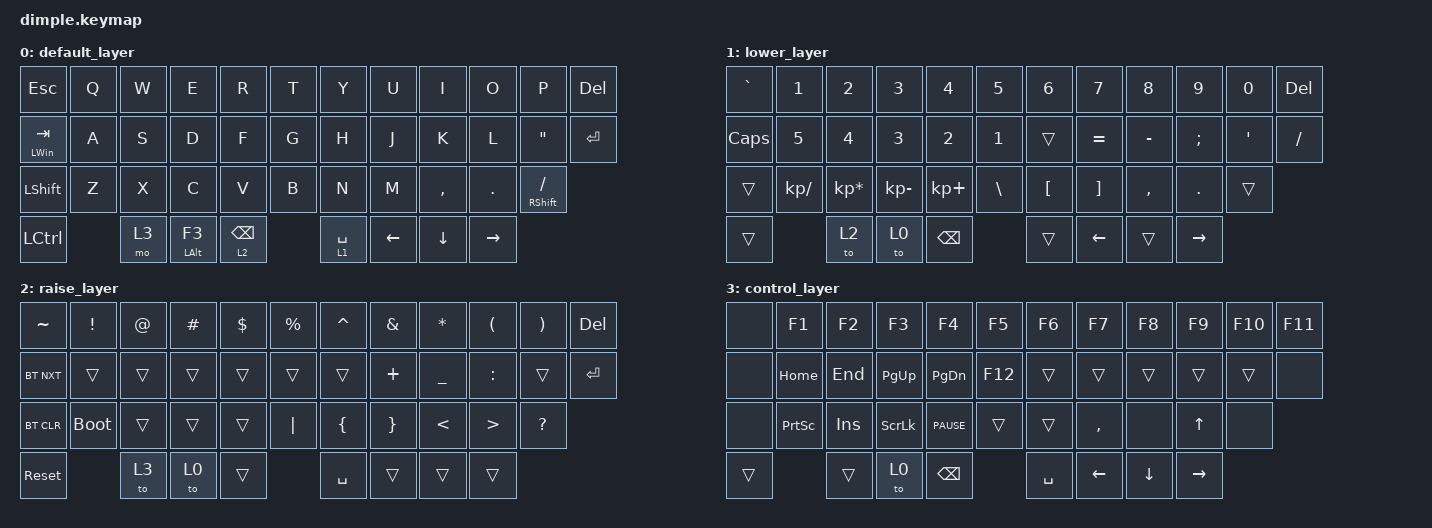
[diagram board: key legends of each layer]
/*
 * Copyright (c) 2022 LAZYDESIGNERS
 *
 * SPDX-License-Identifier: MIT
 */

#include <behaviors.dtsi>
#include <dt-bindings/zmk/bt.h>
#include <dt-bindings/zmk/keys.h>

#define DEFAULT 0
#define LOWER   1
#define RAISE   2
#define CONTROL 3

/ {
    keymap {
        compatible = "zmk,keymap";

        default_layer {
            bindings = <
&kp ESC           &kp Q  &kp W  &kp E            &kp R            &kp T  &kp Y        &kp U     &kp I      &kp O      &kp P              &kp DELETE
&mt LEFT_WIN TAB  &kp A  &kp S  &kp D            &kp F            &kp G  &kp H        &kp J     &kp K      &kp L      &kp DOUBLE_QUOTES  &kp ENTER
&kp LSHFT         &kp Z  &kp X  &kp C            &kp V            &kp B  &kp N        &kp M     &kp COMMA  &kp DOT    &mt RSHFT SLASH
&kp LCTRL                &mo 3  &mt LEFT_ALT F3  &lt 2 BACKSPACE         &lt 1 SPACE  &kp LEFT  &kp DOWN   &kp RIGHT
            >;
        };

        lower_layer {
            bindings = <
&kp GRAVE  &kp NUMBER_1   &kp N2           &kp N3        &kp N4         &kp N5         &kp N6            &kp N7             &kp N8     &kp N9      &kp N0            &kp DEL
&kp CAPS   &kp N5         &kp N4           &kp N3        &kp N2         &kp N1         &trans            &kp EQUAL          &kp MINUS  &kp SEMI    &kp SINGLE_QUOTE  &kp SLASH
&trans     &kp KP_DIVIDE  &kp KP_MULTIPLY  &kp KP_MINUS  &kp KP_PLUS    &kp BACKSLASH  &kp LEFT_BRACKET  &kp RIGHT_BRACKET  &kp COMMA  &kp PERIOD  &trans
&trans                    &to 2            &to 0         &kp BACKSPACE                 &trans            &kp LEFT           &trans     &kp RIGHT
            >;
        };

        raise_layer {
            bindings = <
&kp TILDE   &kp EXCL     &kp AT  &kp HASH  &kp DLLR  &kp PRCNT  &kp CARET       &kp AMPS         &kp STAR       &kp LPAR          &kp RPAR      &kp DEL
&bt BT_NXT  &trans       &trans  &trans    &trans    &trans     &trans          &kp PLUS         &kp UNDER      &kp COLON         &trans        &kp ENTER
&bt BT_CLR  &bootloader  &trans  &trans    &trans    &kp PIPE   &kp LEFT_BRACE  &kp RIGHT_BRACE  &kp LESS_THAN  &kp GREATER_THAN  &kp QUESTION
&sys_reset               &to 3   &to 0     &trans               &kp SPACE       &trans           &trans         &trans
            >;
        };

        control_layer {
            bindings = <
&none   &kp F1           &kp F2   &kp F3          &kp F4         &kp F5   &kp F6     &kp F7     &kp F8    &kp F9        &kp F10  &kp F11
&none   &kp HOME         &kp END  &kp PG_UP       &kp PAGE_DOWN  &kp F12  &trans     &trans     &trans    &trans        &trans   &none
&none   &kp PRINTSCREEN  &kp INS  &kp SCROLLLOCK  &kp C_PAUSE    &trans   &trans     &kp COMMA  &none     &kp UP_ARROW  &none
&trans                   &trans   &to 0           &kp BACKSPACE           &kp SPACE  &kp LEFT   &kp DOWN  &kp RIGHT
            >;
        };
    };
};
